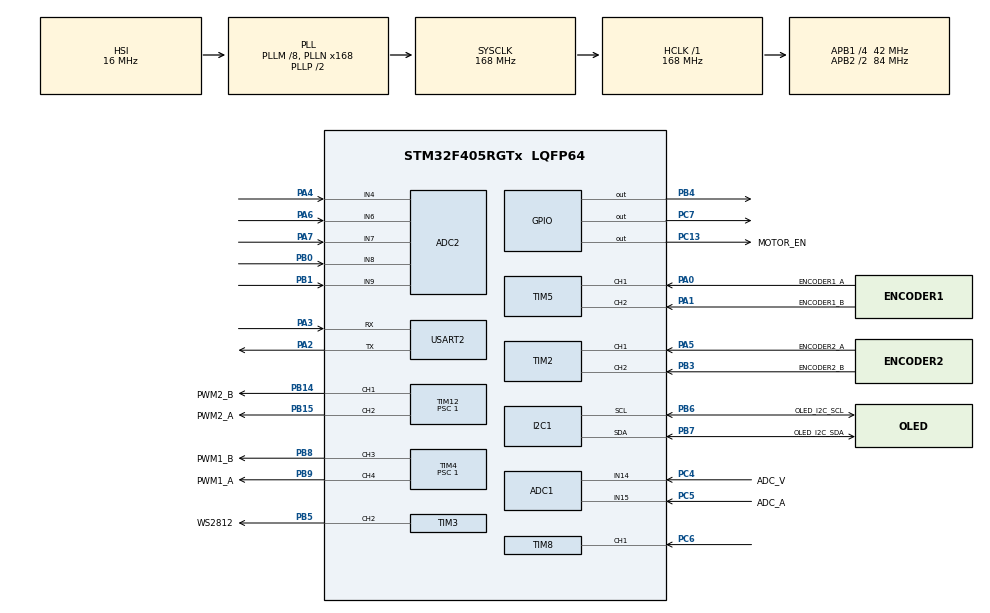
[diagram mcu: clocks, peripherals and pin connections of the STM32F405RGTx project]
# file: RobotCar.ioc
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ADC1.Channel-0\#ChannelRegularConversion=ADC_CHANNEL_14
ADC1.Channel-1\#ChannelRegularConversion=ADC_CHANNEL_15
ADC1.ClockPrescaler=ADC_CLOCK_SYNC_PCLK_DIV4
ADC1.ContinuousConvMode=ENABLE
ADC1.DMAContinuousRequests=ENABLE
ADC1.EOCSelection=ADC_EOC_SEQ_CONV
ADC1.InjNumberOfConversion=0
ADC1.NbrOfConversion=2
ADC1.NbrOfConversionFlag=1
ADC1.Rank-0\#ChannelRegularConversion=1
ADC1.Rank-1\#ChannelRegularConversion=2
ADC1.SamplingTime-0\#ChannelRegularConversion=ADC_SAMPLETIME_480CYCLES
ADC1.SamplingTime-1\#ChannelRegularConversion=ADC_SAMPLETIME_480CYCLES
ADC1.ScanConvMode=ENABLE
ADC1.master=1
ADC2.Channel-3\#ChannelRegularConversion=ADC_CHANNEL_4
ADC2.Channel-4\#ChannelRegularConversion=ADC_CHANNEL_6
ADC2.Channel-5\#ChannelRegularConversion=ADC_CHANNEL_7
ADC2.Channel-6\#ChannelRegularConversion=ADC_CHANNEL_8
ADC2.Channel-7\#ChannelRegularConversion=ADC_CHANNEL_9
ADC2.ContinuousConvMode=ENABLE
ADC2.DMAContinuousRequests=ENABLE
ADC2.NbrOfConversion=5
ADC2.NbrOfConversionFlag=1
ADC2.Rank-3\#ChannelRegularConversion=1
ADC2.Rank-4\#ChannelRegularConversion=2
ADC2.Rank-5\#ChannelRegularConversion=3
ADC2.Rank-6\#ChannelRegularConversion=4
ADC2.Rank-7\#ChannelRegularConversion=5
ADC2.SamplingTime-3\#ChannelRegularConversion=ADC_SAMPLETIME_480CYCLES
ADC2.SamplingTime-4\#ChannelRegularConversion=ADC_SAMPLETIME_480CYCLES
ADC2.SamplingTime-5\#ChannelRegularConversion=ADC_SAMPLETIME_480CYCLES
ADC2.SamplingTime-6\#ChannelRegularConversion=ADC_SAMPLETIME_480CYCLES
ADC2.SamplingTime-7\#ChannelRegularConversion=ADC_SAMPLETIME_480CYCLES
ADC2.ScanConvMode=ENABLE
Dma.ADC1.0.Direction=DMA_PERIPH_TO_MEMORY
Dma.ADC1.0.FIFOMode=DMA_FIFOMODE_DISABLE
Dma.ADC1.0.Instance=DMA2_Stream0
Dma.ADC1.0.MemDataAlignment=DMA_MDATAALIGN_HALFWORD
Dma.ADC1.0.MemInc=DMA_MINC_ENABLE
Dma.ADC1.0.Mode=DMA_CIRCULAR
Dma.ADC1.0.PeriphDataAlignment=DMA_PDATAALIGN_HALFWORD
Dma.ADC1.0.PeriphInc=DMA_PINC_DISABLE
Dma.ADC1.0.Priority=DMA_PRIORITY_LOW
Dma.ADC2.2.Direction=DMA_PERIPH_TO_MEMORY
Dma.ADC2.2.FIFOMode=DMA_FIFOMODE_DISABLE
Dma.ADC2.2.Instance=DMA2_Stream3
Dma.ADC2.2.MemDataAlignment=DMA_MDATAALIGN_HALFWORD
Dma.ADC2.2.MemInc=DMA_MINC_ENABLE
Dma.ADC2.2.Mode=DMA_CIRCULAR
Dma.ADC2.2.PeriphDataAlignment=DMA_PDATAALIGN_HALFWORD
Dma.ADC2.2.PeriphInc=DMA_PINC_DISABLE
Dma.ADC2.2.Priority=DMA_PRIORITY_LOW
Dma.Request0=ADC1
Dma.Request1=TIM3_CH2
Dma.Request2=ADC2
Dma.TIM3_CH2.1.Direction=DMA_MEMORY_TO_PERIPH
Dma.TIM3_CH2.1.FIFOMode=DMA_FIFOMODE_DISABLE
Dma.TIM3_CH2.1.Instance=DMA1_Stream5
Dma.TIM3_CH2.1.MemDataAlignment=DMA_MDATAALIGN_HALFWORD
Dma.TIM3_CH2.1.MemInc=DMA_MINC_ENABLE
Dma.TIM3_CH2.1.Mode=DMA_CIRCULAR
Dma.TIM3_CH2.1.PeriphDataAlignment=DMA_PDATAALIGN_HALFWORD
Dma.TIM3_CH2.1.PeriphInc=DMA_PINC_DISABLE
Dma.TIM3_CH2.1.Priority=DMA_PRIORITY_LOW
I2C1.I2C_Mode=I2C_Fast
Mcu.Family=STM32F4
Mcu.Name=STM32F405RGTx
Mcu.Package=LQFP64
NVIC.ADC_IRQn=true\:0\:0\:false\:false\:true\:true\:true\:true
NVIC.DMA1_Stream5_IRQn=true\:0\:0\:false\:false\:true\:false\:true\:true
NVIC.DMA2_Stream0_IRQn=true\:0\:0\:false\:false\:true\:false\:true\:true
NVIC.DMA2_Stream3_IRQn=true\:0\:0\:false\:false\:true\:false\:true\:true
NVIC.PriorityGroup=NVIC_PRIORITYGROUP_4
NVIC.TIM2_IRQn=true\:0\:0\:false\:false\:true\:true\:true\:true
NVIC.TIM4_IRQn=true\:0\:0\:false\:false\:true\:true\:true\:true
NVIC.TIM5_IRQn=true\:0\:0\:false\:false\:true\:true\:true\:true
NVIC.TIM8_CC_IRQn=true\:0\:0\:false\:false\:true\:true\:true\:true
NVIC.TIM8_UP_TIM13_IRQn=true\:0\:0\:false\:false\:true\:true\:true\:true
NVIC.USART2_IRQn=true\:0\:0\:false\:false\:true\:true\:true\:true
PA0-WKUP.GPIO_Label=ENCODER1_A
PA0-WKUP.Signal=S_TIM5_CH1
PA1.GPIO_Label=ENCODER1_B
PA1.Signal=S_TIM5_CH2
PA13.GPIO_Label=ST-Link DIO
PA13.Mode=Serial_Wire
PA13.Signal=SYS_JTMS-SWDIO
PA14.GPIO_Label=ST-Link CLK
PA14.Mode=Serial_Wire
PA14.Signal=SYS_JTCK-SWCLK
PA2.Mode=Asynchronous
PA2.Signal=USART2_TX
PA3.Mode=Asynchronous
PA3.Signal=USART2_RX
PA4.Signal=ADCx_IN4
PA5.GPIO_Label=ENCODER2_A
PA5.Signal=S_TIM2_CH1_ETR
PA6.Signal=ADCx_IN6
PA7.Signal=ADCx_IN7
PB0.Signal=ADCx_IN8
PB1.Signal=ADCx_IN9
PB14.GPIO_Label=PWM2_B
PB14.Signal=S_TIM12_CH1
PB15.GPIO_Label=PWM2_A
PB15.Signal=S_TIM12_CH2
PB3.GPIO_Label=ENCODER2_B
PB3.Signal=S_TIM2_CH2
PB4.GPIO_PuPd=GPIO_NOPULL
PB4.Signal=GPIO_Output
PB5.GPIO_Label=WS2812
PB5.Signal=S_TIM3_CH2
PB6.GPIO_Label=OLED_I2C_SCL
PB6.Mode=I2C
PB6.Signal=I2C1_SCL
PB7.GPIO_Label=OLED_I2C_SDA
PB7.Mode=I2C
PB7.Signal=I2C1_SDA
PB8.GPIO_Label=PWM1_B
PB8.Signal=S_TIM4_CH3
PB9.GPIO_Label=PWM1_A
PB9.Signal=S_TIM4_CH4
PC13-ANTI_TAMP.GPIO_Label=MOTOR_EN
PC13-ANTI_TAMP.PinState=GPIO_PIN_SET
PC13-ANTI_TAMP.Signal=GPIO_Output
PC4.GPIO_Label=ADC_V
PC4.Signal=ADCx_IN14
PC5.GPIO_Label=ADC_A
PC5.Signal=ADCx_IN15
PC6.Signal=S_TIM8_CH1
PC7.GPIO_ModeDefaultOutputPP=GPIO_MODE_OUTPUT_PP
PC7.GPIO_PuPd=GPIO_NOPULL
PC7.GPIO_Speed=GPIO_SPEED_FREQ_LOW
PC7.Signal=GPIO_Output
PH0-OSC_IN.Mode=HSE-External-Oscillator
PH0-OSC_IN.Signal=RCC_OSC_IN
PH1-OSC_OUT.Mode=HSE-External-Oscillator
PH1-OSC_OUT.Signal=RCC_OSC_OUT
ProjectManager.HeapSize=0x200
ProjectManager.StackSize=0x400
ProjectManager.TargetToolchain=STM32CubeIDE
RCC.48MHZClocksFreq_Value=84000000
RCC.AHBFreq_Value=168000000
RCC.APB1CLKDivider=RCC_HCLK_DIV4
RCC.APB1Freq_Value=42000000
RCC.APB1TimFreq_Value=84000000
RCC.APB2CLKDivider=RCC_HCLK_DIV2
RCC.APB2Freq_Value=84000000
RCC.APB2TimFreq_Value=168000000
RCC.CortexFreq_Value=168000000
RCC.HCLKFreq_Value=168000000
RCC.HSE_VALUE=12000000
RCC.HSI_VALUE=16000000
RCC.LSE_VALUE=32768
RCC.PLLM=8
RCC.PLLN=168
RCC.SYSCLKFreq_VALUE=168000000
RCC.SYSCLKSource=RCC_SYSCLKSOURCE_PLLCLK
RCC.VCOOutputFreq_Value=336000000
SH.ADCx_IN14.0=ADC1_IN14,IN14
SH.ADCx_IN15.0=ADC1_IN15,IN15
SH.ADCx_IN4.0=ADC2_IN4,IN4
SH.ADCx_IN6.0=ADC2_IN6,IN6
SH.ADCx_IN7.0=ADC2_IN7,IN7
SH.ADCx_IN8.0=ADC2_IN8,IN8
SH.ADCx_IN9.0=ADC2_IN9,IN9
SH.S_TIM12_CH1.0=TIM12_CH1,PWM Generation1 CH1
SH.S_TIM12_CH2.0=TIM12_CH2,PWM Generation2 CH2
SH.S_TIM2_CH1_ETR.0=TIM2_CH1,Encoder_Interface
SH.S_TIM2_CH2.0=TIM2_CH2,Encoder_Interface
SH.S_TIM3_CH2.0=TIM3_CH2,PWM Generation2 CH2
SH.S_TIM4_CH3.0=TIM4_CH3,PWM Generation3 CH3
SH.S_TIM4_CH4.0=TIM4_CH4,PWM Generation4 CH4
SH.S_TIM5_CH1.0=TIM5_CH1,Encoder_Interface
SH.S_TIM5_CH2.0=TIM5_CH2,Encoder_Interface
SH.S_TIM8_CH1.0=TIM8_CH1,Input_Capture1_from_TI1
TIM12.Channel-PWM\ Generation1\ CH1=TIM_CHANNEL_1
TIM12.Channel-PWM\ Generation2\ CH2=TIM_CHANNEL_2
TIM12.OCPolarity_1=TIM_OCPOLARITY_LOW
TIM12.OCPolarity_2=TIM_OCPOLARITY_LOW
TIM12.Prescaler=1
TIM13.Period=10000
TIM13.Prescaler=168-1
TIM2.EncoderMode=TIM_ENCODERMODE_TI12
TIM2.IC2Polarity=TIM_ICPOLARITY_FALLING
TIM3.Channel-PWM\ Generation2\ CH2=TIM_CHANNEL_2
TIM3.Period=90-1
TIM4.Channel-PWM\ Generation3\ CH3=TIM_CHANNEL_3
TIM4.Channel-PWM\ Generation4\ CH4=TIM_CHANNEL_4
TIM4.OCPolarity_3=TIM_OCPOLARITY_LOW
TIM4.OCPolarity_4=TIM_OCPOLARITY_LOW
TIM4.Prescaler=1
TIM4.Pulse-PWM\ Generation3\ CH3=0
TIM5.EncoderMode=TIM_ENCODERMODE_TI12
TIM5.IC2Polarity=TIM_ICPOLARITY_FALLING
TIM8.Channel-Input_Capture1_from_TI1=TIM_CHANNEL_1
TIM8.ICPolarity_CH1=TIM_INPUTCHANNELPOLARITY_RISING
TIM8.Period=0xffff-1
TIM8.Prescaler=72-1
USART2.VirtualMode=VM_ASYNC
VP_TIM12_VS_ClockSourceINT.Mode=Internal
VP_TIM13_VS_ClockSourceINT.Mode=Enable_Timer
VP_TIM3_VS_ClockSourceINT.Mode=Internal
VP_TIM4_VS_ClockSourceINT.Mode=Internal
board=custom

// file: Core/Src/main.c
/* USER CODE BEGIN Header */
/**
 ******************************************************************************
 * @file           : main.c
 * @brief          : Main program body
 ******************************************************************************
 * @attention
 *
 * Copyright (c) 2024 STMicroelectronics.
 * All rights reserved.
 *
 * This software is licensed under terms that can be found in the LICENSE file
 * in the root directory of this software component.
 * If no LICENSE file comes with this software, it is provided AS-IS.
 *
 ******************************************************************************
 */
/* USER CODE END Header */
#include "main.h"
#include "adc.h"
#include "dma.h"
#include "i2c.h"
#include "tim.h"
#include "usart.h"
#include "gpio.h"

/* USER CODE BEGIN Includes */
#include <stdio.h>
#include <string.h>
#include <inttypes.h>
#include <stdbool.h>
#include <math.h>
#include <ssd1306.h>
#include <ssd1306_fonts.h>
/* USER CODE END Includes */

/* USER CODE BEGIN PV */
// ADC Measurements
uint16_t ADC1Array[2];  // Array to store ADC readings for voltage and current
uint16_t ADC2Array[5];
// Sliding Window (Moving Average) for voltage and current
#define WINDOW_SIZE 100  // Number of readings to average
uint16_t adc_voltage_buffer	[WINDOW_SIZE] = { 0 }; // Buffer for voltage readings
uint16_t adc_current_buffer[WINDOW_SIZE] = { 0 }; // Buffer for current readings
uint8_t adc_index = 0;  // Current index for buffer
uint16_t smoothed_ADC1Array[2]; // Array to store the smoothed voltage and current values
char tx_buffer[43]; // Buffer to store received data
char data_buffer[43]; // Buffer to do string operations

unsigned int is_up_pressed = 0; // 'u'
unsigned int is_right_pressed = 0; // 'r'
unsigned int is_down_pressed = 0; // 'd'
unsigned int is_left_pressed = 0;	// 'l'
unsigned int is_e_pressed = 0; // 'e'
unsigned int is_f_pressed = 0;	// 'f'
unsigned int is_joystick_pressed = 0; // 'j'
unsigned int x_axis_adc0 = 0; // 'x'
unsigned int y_axis_adc1 = 0;	// 'y'

// OLED Display
char buffer[20]; // String buffer for formatted output on the OLED screen

// RGB LED (WS2812)
uint16_t WS2812_RGB_Buff[74] = { 0 }; // Buffer for RGB LED data
int blue_brightness = 0;  // Initial brightness value
int direction = 1; // 1 = increasing, -1 = decreasing

bool has_captured_ultrasonic_rising_edge = false;
uint32_t rising_edge_instant = 0;
uint32_t falling_edge_instant = 0;

#define ECHO_Pin GPIO_PIN_6
#define ECHO_GPIO_Port GPIOC

#define TRIG_Pin GPIO_PIN_7
#define TRIG_GPIO_Port GPIOC

// Delay counter
uint32_t ms_count = 0;
/* USER CODE END PV */

void SystemClock_Config(void);

/* USER CODE BEGIN 0 */
// Motor control function
void motor(int32_t left, int32_t right) {
	// Clamp the values to be within -65535 and +65535, 2^16
	left = fminf(fmaxf(left, -65535), 65535);
	right = fminf(fmaxf(right, -65535), 65535);

	// Handle the left wheel
	if (left >= 0) {
		// Forward
		__HAL_TIM_SET_COMPARE(&htim4, TIM_CHANNEL_3, left); // Forward
		__HAL_TIM_SET_COMPARE(&htim4, TIM_CHANNEL_4, 0); // Backward
	} else {
		// Backward
		__HAL_TIM_SET_COMPARE(&htim4, TIM_CHANNEL_3, 0); // Forward
		__HAL_TIM_SET_COMPARE(&htim4, TIM_CHANNEL_4, -left); // Backward
	}

	// Handle the right wheel
	if (right >= 0) {
		// Forward
		__HAL_TIM_SET_COMPARE(&htim12, TIM_CHANNEL_1, right); // Forward
		__HAL_TIM_SET_COMPARE(&htim12, TIM_CHANNEL_2, 0); // Backward
	} else {
		// Backward
		__HAL_TIM_SET_COMPARE(&htim12, TIM_CHANNEL_1, 0); // Forward
		__HAL_TIM_SET_COMPARE(&htim12, TIM_CHANNEL_2, -right); // Backward
	}
}
// WS2812 set color
void WS2812_Set(uint8_t R, uint8_t G, uint8_t B) {
	for (uint8_t i = 0; i < 8; i++) {
		//Fill the array
		WS2812_RGB_Buff[i] = (G << i) & (0x80) ? 60 : 29;
		WS2812_RGB_Buff[i + 8] = (R << i) & (0x80) ? 60 : 29;
		WS2812_RGB_Buff[i + 16] = (B << i) & (0x80) ? 60 : 29;
	}
}
// WS2812 initialization
void WS2812_Init() {
	WS2812_Set(255, 255, 255);

	//Use DMA to move the contents from memory to the timer comparison register
	HAL_TIM_PWM_Start_DMA(&htim3, TIM_CHANNEL_2, (uint32_t*) WS2812_RGB_Buff,
			sizeof(WS2812_RGB_Buff) / sizeof(uint16_t));
}
// Breathing blue light function (no loop inside, to be called continuously)
void breathing_blue_update() {
	// Set the LED color (R = 0, G = 0, B = blue_brightness)
	WS2812_Set(0, 0, blue_brightness);

	// Update the brightness value
	blue_brightness += direction * 5; // Adjust the step size (5) for smoothness and speed

	// Reverse the direction at the limits (0 and 50)
	if (blue_brightness >= 50) {
		direction = -1;  // Start decreasing brightness
		blue_brightness = 50;  // Clamp to 50 to avoid overflow
	} else if (blue_brightness <= 0) {
		direction = 1;   // Start increasing brightness
		blue_brightness = 0;  // Clamp to 0 to avoid underflow
	}
}

// Timer interrupt
void HAL_TIM_PeriodElapsedCallback(TIM_HandleTypeDef *htim) {
	// Update the breathing light
	if (htim->Instance == TIM13) {
		breathing_blue_update();
	}
}

uint32_t ultrasonic_counter = 0;

float distance = 0.0f;
bool is_working = false;

//void HAL_TIM_IC_CaptureCallback(TIM_HandleTypeDef *htim) {
//	if (htim->Instance == TIM8) {
//		if (!has_captured_ultrasonic_rising_edge) {
//			rising_edge_instant = HAL_TIM_ReadCapturedValue(htim, TIM_CHANNEL_1);
//			has_captured_ultrasonic_rising_edge = true;
//			__HAL_TIM_SET_CAPTUREPOLARITY(htim, TIM_CHANNEL_1, TIM_INPUTCHANNELPOLARITY_FALLING);
//            // HAL_TIM_IC_Start_IT(htim, TIM_CHANNEL_1);
//		} else if (has_captured_ultrasonic_rising_edge) {
//			falling_edge_instant = HAL_TIM_ReadCapturedValue(htim, TIM_CHANNEL_1);
//			has_captured_ultrasonic_rising_edge = false;
//			__HAL_TIM_SET_CAPTUREPOLARITY(htim, TIM_CHANNEL_1, TIM_INPUTCHANNELPOLARITY_RISING);
//			__HAL_TIM_SET_COUNTER(htim, 0);  // reset counter
//			HAL_TIM_IC_Stop_IT(htim, TIM_CHANNEL_1);
//			// __HAL_TIM_DISABLE_IT(&htim1, TIM_IT_CC1);
//			distance = (((falling_edge_instant > rising_edge_instant) ? 0 : 0xFFFF) + falling_edge_instant - rising_edge_instant) * 0.017;  // cm
//
//			ultrasonic_counter = 0;
//			HAL_GPIO_WritePin(TRIG_GPIO_Port, TRIG_Pin, GPIO_PIN_SET);
//			is_working = false;
//		}
//	}
//}

uint32_t IC_Val1 = 0;
uint32_t IC_Val2 = 0;
uint32_t Difference = 0;
uint8_t Is_First_Captured = 0;  // is the first value captured ?
uint8_t Distance  = 0;

void HAL_TIM_IC_CaptureCallback(TIM_HandleTypeDef *htim)
{
	if (htim->Channel == HAL_TIM_ACTIVE_CHANNEL_1)  // if the interrupt source is channel1
	{
		if (Is_First_Captured==0) // if the first value is not captured
		{
			IC_Val1 = HAL_TIM_ReadCapturedValue(htim, TIM_CHANNEL_1); // read the first value
			Is_First_Captured = 1;  // set the first captured as true
			// Now change the polarity to falling edge
			__HAL_TIM_SET_CAPTUREPOLARITY(htim, TIM_CHANNEL_1, TIM_INPUTCHANNELPOLARITY_FALLING);
		}

		else if (Is_First_Captured==1)   // if the first is already captured
		{
			IC_Val2 = HAL_TIM_ReadCapturedValue(htim, TIM_CHANNEL_1);  // read second value
			__HAL_TIM_SET_COUNTER(htim, 0);  // reset the counter

			if (IC_Val2 > IC_Val1)
			{
				Difference = IC_Val2-IC_Val1;
			}

			else if (IC_Val1 > IC_Val2)
			{
				Difference = (0xffff - IC_Val1) + IC_Val2;
			}

			Distance = Difference * .034/2;
			Is_First_Captured = 0; // set it back to false

			// set polarity to rising edge
			__HAL_TIM_SET_CAPTUREPOLARITY(htim, TIM_CHANNEL_1, TIM_INPUTCHANNELPOLARITY_RISING);
			//__HAL_TIM_DISABLE_IT(&htim8, TIM_IT_CC1);
		}
	}
}

// Callback function of SysTick
void HAL_SYSTICK_Callback(void) {
//HAL_GPIO_TogglePin(GPIOB, GPIO_PIN_4); // 1ms toggle pin
	ms_count++;
	ultrasonic_counter++;

//	// Tesing only
//	if (ms_count < 2000) {
//		// motor(20000, 20000); // Motor ON for 2000 ms
//	} else if (ms_count < 4000) {
//		motor(0, 0); // Motor OFF for 2000 ms
//	} else {
//		ms_count = 0; // Reset counter after 4000 ms
//	}

//	unsigned int is_up_pressed = 0; // 'u'
//	unsigned int is_right_pressed = 0; // 'r'
//	unsigned int is_down_pressed = 0; // 'd'
//	unsigned int is_left_pressed = 0;	// 'l'
	if (is_up_pressed == 1) {
		motor(20000, 20000);
	} else if (is_right_pressed == 1) {
		motor(0, 20000);
	} else if (is_down_pressed == 1) {
		motor(-20000, -20000);
	} else if (is_left_pressed == 1) {
		motor(20000, 0);
	} else {
		motor(0, 0);
	}
}

// ADC Callback
void HAL_ADC_ConvCpltCallback(ADC_HandleTypeDef *hadc) {
	if (hadc->Instance == ADC1)  // Check which ADC triggered the interrupt
			{
		// Update the ADC buffers with the new readings from DMA
		adc_voltage_buffer[adc_index] = ADC1Array[0]; // Store voltage ADC reading
		adc_current_buffer[adc_index] = ADC1Array[1]; // Store current ADC reading

		// Move the index forward, wrapping around when reaching the buffer size
		adc_index = (adc_index + 1) % WINDOW_SIZE;

		// Calculate the moving average for voltage
		uint32_t voltage_sum = 0;
		for (int i = 0; i < WINDOW_SIZE; i++) {
			voltage_sum += adc_voltage_buffer[i];
		}
		smoothed_ADC1Array[0] = voltage_sum / WINDOW_SIZE; // Store smoothed voltage

		// Calculate the moving average for current
		uint32_t current_sum = 0;
		for (int i = 0; i < WINDOW_SIZE; i++) {
			current_sum += adc_current_buffer[i];
		}
		smoothed_ADC1Array[1] = current_sum / WINDOW_SIZE; // Store smoothed current
	}
}

void substr(char *dest, const char *src, unsigned int start, unsigned int count) {
	/*
		 //  char s[] = "121111110231023" ;
		 //  char t[1];
		 //  substr(t, s, 1 , 1 );
	*/
    strncpy(dest, src + start, count);
    dest[count] = 0;
}

// substring(dest, "hello", 1, 3); // prints "el"
void substring(char *dest, const char *src, unsigned int start, unsigned int end_exclusive) {
	/*
		 //  char s[] = "121111110231023" ;
		 //  char t[1];
		 //  substr(t, s, 1 , 1 );
	*/
	substr(dest, src, start, end_exclusive - start);
}

// char a[] = "a:1 b:2";
void parse_usart_incoming_stream(const char* stream, unsigned int length) {
    char fields[] = { 'u', 'r', 'd', 'l', 'e', 'f', 'j', 'x', 'y' };

    int i = 0;
    int j = 0;
    while (i < length) {
    	for (int ei = 0; ei < sizeof(fields); ei++) {
    		if (stream[i] == fields[ei]) {
    			j = i + 2; //
                for (;j <length; j++) {
                    if (stream[j] == ' ' || stream[j] == '\n') {
                        break;
                    }
                }
                memset(data_buffer,'\0', sizeof(data_buffer));
                substring(data_buffer, stream, i + 2, j);
                printf("%c: ->%s<-, ", stream[i], data_buffer);
                // convert to int and set
                switch(stream[i])
                {
					case 'u':
						if (j - (i + 2 ) != 1) break;
					   sscanf(data_buffer, "%d",&is_up_pressed);
					   break;
					case 'r':
						if (j - (i + 2 ) != 1) break;
					   sscanf(data_buffer, "%d",&is_right_pressed);
					   break;
					case 'd':
						if (j - (i + 2 ) != 1) break;
					   sscanf(data_buffer, "%d",&is_down_pressed);
					   break;
					case 'l':
						if (j - (i + 2 ) != 1) break;
					   sscanf(data_buffer, "%d",&is_left_pressed);
					   break;
					case 'e':
						if (j - (i + 2 ) != 1) break;
					   sscanf(data_buffer, "%d",&is_e_pressed);
					   break;
					case 'f':
						if (j - (i + 2 ) != 1) break;
					   sscanf(data_buffer, "%d",&is_f_pressed);
					   break;
					case 'j':
						if (j - (i + 2 ) != 1) break;
						sscanf(data_buffer, "%d",&is_joystick_pressed);
					   break;
					case 'x':
						if (j - (i + 2 ) != 4) break;
						sscanf(data_buffer, "%04d",&x_axis_adc0);
						break;
					case 'y':
						if (j - (i + 2 ) != 4) break;
						sscanf(data_buffer, "%04d",&y_axis_adc1);
						break;
                }
    			break;
    		}
    	}
        i++;
    }
}

void HAL_UARTEx_RxEventCallback(UART_HandleTypeDef *huart, uint16_t size)
{
	if(huart->Instance == USART2) {
		parse_usart_incoming_stream(tx_buffer, size);
		HAL_UARTEx_ReceiveToIdle_IT(&huart2, (uint8_t *)&tx_buffer, sizeof(tx_buffer));
	}
}

//void HAL_UART_RxCpltCallback(UART_HandleTypeDef *huart)
//{
//}

char tracker_marking(uint16_t adc_value) {
	// mid-point of 12-bit ADC
	return adc_value < 2048 ? '-' : '*';
}

void delay (uint16_t time)
{
	__HAL_TIM_SET_COUNTER(&htim8, 0);
	while (__HAL_TIM_GET_COUNTER (&htim8) < time);
}

void HCSR04_Read (void)
{
	// Clear the trigPin
	HAL_GPIO_WritePin(TRIG_GPIO_Port, TRIG_Pin, GPIO_PIN_RESET);
	delay(2);  // wait for 2 us

	HAL_GPIO_WritePin(TRIG_GPIO_Port, TRIG_Pin, GPIO_PIN_SET);  // pull the TRIG pin HIGH
	delay(10);  // wait for 10 us
	HAL_GPIO_WritePin(TRIG_GPIO_Port, TRIG_Pin, GPIO_PIN_RESET);  // pull the TRIG pin low

	__HAL_TIM_ENABLE_IT(&htim8, TIM_IT_CC1);
}

/* USER CODE END 0 */

int main(void)
{

  /* MCU Configuration--------------------------------------------------------*/

  /* Reset of all peripherals, Initializes the Flash interface and the Systick. */
  HAL_Init();

  /* Configure the system clock */
  SystemClock_Config();

  /* Initialize all configured peripherals */
  MX_GPIO_Init();
  MX_DMA_Init();
  MX_TIM3_Init();
  MX_TIM4_Init();
  MX_TIM2_Init();
  MX_TIM5_Init();
  MX_TIM12_Init();
  MX_ADC1_Init();
  MX_I2C1_Init();
  MX_TIM13_Init();
  MX_USART2_UART_Init();
  MX_ADC2_Init();
  MX_TIM8_Init();
  /* USER CODE BEGIN 2 */
	// Start right PWM channels
	HAL_TIM_PWM_Start(&htim4, TIM_CHANNEL_3);
	HAL_TIM_PWM_Start(&htim4, TIM_CHANNEL_4);

	// Start left PWM channels
	HAL_TIM_PWM_Start(&htim12, TIM_CHANNEL_1);
	HAL_TIM_PWM_Start(&htim12, TIM_CHANNEL_2);

	// Example on count encoder pulses using interrupts
	HAL_TIM_Encoder_Start(&htim2, TIM_CHANNEL_1 | TIM_CHANNEL_2);
	HAL_TIM_Encoder_Start(&htim5, TIM_CHANNEL_1 | TIM_CHANNEL_2);

	// ADC Values for voltage and current
	HAL_ADC_Start_DMA(&hadc1, (uint32_t*) ADC1Array, 2);
	HAL_ADC_Start_DMA(&hadc2, (uint32_t*) ADC2Array, 5);

	HAL_TIM_Base_Start_IT(&htim13); // LED PB5

	HAL_ADC_Start_IT(&hadc1); // ADC interrupt handler
	HAL_ADC_Start_IT(&hadc2); // ADC interrupt handler

	HAL_TIM_IC_Init(&htim8);
	HAL_TIM_IC_Start_IT(&htim8, TIM_CHANNEL_1);

	ssd1306_Init();
	ssd1306_Fill(White);
	ssd1306_UpdateScreen();
	ssd1306_Fill(Black);

	WS2812_Init();

	ssd1306_SetCursor(0, 0);
	ssd1306_WriteString("RobotCar", Font_11x18, White);
	ssd1306_UpdateScreen();

	HAL_Delay(1000);

	memset(tx_buffer,'\0', sizeof(tx_buffer));
	memset(data_buffer,'\0', sizeof(data_buffer));

    // HAL_UART_Receive_IT(&huart2, (uint8_t *)&tx_buffer, sizeof(tx_buffer));

	HAL_UARTEx_ReceiveToIdle_IT(&huart2, (uint8_t *)&tx_buffer, sizeof(tx_buffer));

    ultrasonic_counter = 0;

  /* USER CODE END 2 */

  /* Infinite loop */
	while (1) {

    /* USER CODE BEGIN 3 */
		ssd1306_Fill(Black);

//		sprintf(buffer, "%.2fV%s%.3fA",
//				(smoothed_ADC1Array[0] * 0.00459228515 + 0.22), // Voltage calculation
//				(smoothed_ADC1Array[0] * 0.00459228515 + 0.22) < 7.5 ?
//						"TooLow" : "", // Check if voltage is lower than 7.5V
//				((smoothed_ADC1Array[1] * 0.8 - 2500) / 185) < 0 ?
//						0 : ((smoothed_ADC1Array[1] * 0.8 - 2500) / 185)); // Current calculation
//
//		ssd1306_SetCursor(0, 0);  // Set cursor to the top of the display
//		ssd1306_WriteString(buffer, Font_11x18, White);
//

		/*
		snprintf(buffer, sizeof(buffer), "L: %"PRIu32"", __HAL_TIM_GET_COUNTER(&htim2)); // 4,294,967,295
		ssd1306_SetCursor(0, 0); // Set cursor below the voltage/current display
		ssd1306_WriteString(buffer, Font_11x18, White);

		snprintf(buffer, sizeof(buffer), "R: %"PRIu32"", __HAL_TIM_GET_COUNTER(&htim5)); // 4,294,967,295
		ssd1306_SetCursor(0, 30); // Set cursor below the GPIO states
		ssd1306_WriteString(buffer, Font_11x18, White);
		*/

//		if (ultrasonic_counter > 1000 && !is_working) {
//			is_working = true;
//
//			HAL_GPIO_WritePin(TRIG_GPIO_Port, TRIG_Pin, GPIO_PIN_RESET);
//			__HAL_TIM_ENABLE_IT(&htim8, TIM_IT_CC1);
//			__HAL_TIM_SET_CAPTUREPOLARITY(&htim8, TIM_CHANNEL_1, TIM_INPUTCHANNELPOLARITY_RISING);
//		}

		HCSR04_Read();

		snprintf(buffer, sizeof(buffer), "%c%c%c%c%c-%dcm",
				tracker_marking(ADC2Array[0]),
				tracker_marking(ADC2Array[1]),
				tracker_marking(ADC2Array[2]),
				tracker_marking(ADC2Array[3]),
				tracker_marking(ADC2Array[4]),
				Distance
		);

		ssd1306_SetCursor(0, 0);
		ssd1306_WriteString(buffer, Font_11x18, White);

		// [STM32 UART Receive via IDLE Line – Interrupt & DMA Tutorial](https://controllerstech.com/stm32-uart-5-receive-data-using-idle-line/)
		snprintf(buffer, sizeof(buffer), "%04d, %04d", x_axis_adc0, y_axis_adc1); // 4,294,967,295
		ssd1306_SetCursor(0, 30); // Set cursor below the GPIO states
		ssd1306_WriteString(buffer, Font_11x18, White);

		ssd1306_UpdateScreen();
		// Write your code below

	}
  /* USER CODE END 3 */
}

// [STM32 HAL库UART的使用 - cau_par - 博客园](https://www.cnblogs.com/stupidpeng/p/13169422.html)
//   if(HAL_UART_Transmit_IT(&UartHandle, (uint8_t*)aTxStartMessage, TXSTARTMESSAGESIZE)!= HAL_OK)
//   {
//     /* Transfer error in transmission process */
//     Error_Handler();
//   }

// while (HAL_UART_GetState(&UartHandle) != HAL_UART_STATE_READY);
//  if(HAL_UART_Transmit_IT(&UartHandle, (uint8_t*)aRxBuffer, RXBUFFERSIZE)!= HAL_OK)
//   {
//     /* Transfer error in transmission process */
//     Error_Handler();
//   }

// /**
//   * @brief  Tx Transfer completed callback
//   * @param  UartHandle: UART handle.
//   * @note   This example shows a simple way to report end of IT Tx transfer, and
//   *         you can add your own implementation.
//   * @retval None
//   */
// void HAL_UART_TxCpltCallback(UART_HandleTypeDef *UartHandle)
// {
//   /* Turn LED1 on: Transfer in transmission process is correct */
//   BSP_LED_On(LED1);
// }

void SystemClock_Config(void)
{
  RCC_OscInitTypeDef RCC_OscInitStruct = {0};
  RCC_ClkInitTypeDef RCC_ClkInitStruct = {0};

  /** Configure the main internal regulator output voltage
  */
  __HAL_RCC_PWR_CLK_ENABLE();
  __HAL_PWR_VOLTAGESCALING_CONFIG(PWR_REGULATOR_VOLTAGE_SCALE1);

  /** Initializes the RCC Oscillators according to the specified parameters
  * in the RCC_OscInitTypeDef structure.
  */
  RCC_OscInitStruct.OscillatorType = RCC_OSCILLATORTYPE_HSI;
  RCC_OscInitStruct.HSIState = RCC_HSI_ON;
  RCC_OscInitStruct.HSICalibrationValue = RCC_HSICALIBRATION_DEFAULT;
  RCC_OscInitStruct.PLL.PLLState = RCC_PLL_ON;
  RCC_OscInitStruct.PLL.PLLSource = RCC_PLLSOURCE_HSI;
  RCC_OscInitStruct.PLL.PLLM = 8;
  RCC_OscInitStruct.PLL.PLLN = 168;
  RCC_OscInitStruct.PLL.PLLP = RCC_PLLP_DIV2;
  RCC_OscInitStruct.PLL.PLLQ = 4;
  if (HAL_RCC_OscConfig(&RCC_OscInitStruct) != HAL_OK)
  {
    Error_Handler();
  }

  /** Initializes the CPU, AHB and APB buses clocks
  */
  RCC_ClkInitStruct.ClockType = RCC_CLOCKTYPE_HCLK|RCC_CLOCKTYPE_SYSCLK
                              |RCC_CLOCKTYPE_PCLK1|RCC_CLOCKTYPE_PCLK2;
  RCC_ClkInitStruct.SYSCLKSource = RCC_SYSCLKSOURCE_PLLCLK;
  RCC_ClkInitStruct.AHBCLKDivider = RCC_SYSCLK_DIV1;
  RCC_ClkInitStruct.APB1CLKDivider = RCC_HCLK_DIV4;
  RCC_ClkInitStruct.APB2CLKDivider = RCC_HCLK_DIV2;

  if (HAL_RCC_ClockConfig(&RCC_ClkInitStruct, FLASH_LATENCY_5) != HAL_OK)
  {
    Error_Handler();
  }
}

void Error_Handler(void)
{
	__disable_irq();
	while (1) {
	}
}
